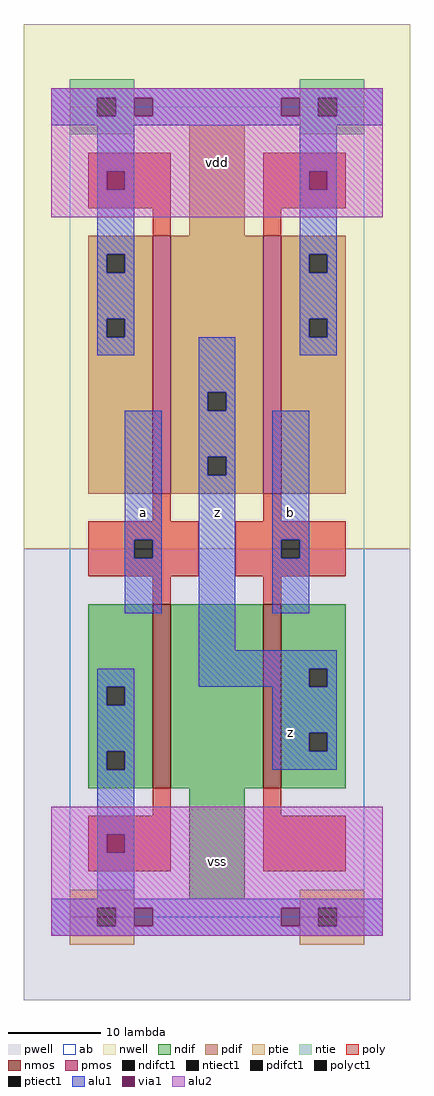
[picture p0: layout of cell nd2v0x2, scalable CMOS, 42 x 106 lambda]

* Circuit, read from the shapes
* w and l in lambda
.subckt nd2v0x2 a b vdd vss z
M1 n1 a vss vss nfet w=20 l=2
M2 z b n1 vss nfet w=20 l=2
M3 z a vdd vdd pfet w=28 l=2
M4 vdd b z vdd pfet w=28 l=2
.ends

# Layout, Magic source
magic
tech scmos
<< ab >>
rect 0 0 32 88
<< nwell >>
rect -5 40 37 97
<< pwell >>
rect -5 -9 37 40
<< poly >>
rect 2 77 11 83
rect 9 74 11 77
rect 21 77 30 83
rect 21 74 23 77
rect 9 43 11 46
rect 21 43 23 46
rect 2 41 14 43
rect 2 39 7 41
rect 9 39 14 41
rect 2 37 14 39
rect 18 41 30 43
rect 18 39 23 41
rect 25 39 30 41
rect 18 37 30 39
rect 9 34 11 37
rect 21 34 23 37
rect 9 11 11 14
rect 2 5 11 11
rect 21 11 23 14
rect 21 5 30 11
<< ndif >>
rect 2 25 9 34
rect 2 23 4 25
rect 6 23 9 25
rect 2 18 9 23
rect 2 16 4 18
rect 6 16 9 18
rect 2 14 9 16
rect 11 14 21 34
rect 23 27 30 34
rect 23 25 26 27
rect 28 25 30 27
rect 23 20 30 25
rect 23 18 26 20
rect 28 18 30 20
rect 23 14 30 18
rect 13 2 19 14
<< pdif >>
rect 13 74 19 86
rect 2 72 9 74
rect 2 70 4 72
rect 6 70 9 72
rect 2 65 9 70
rect 2 63 4 65
rect 6 63 9 65
rect 2 46 9 63
rect 11 57 21 74
rect 11 55 15 57
rect 17 55 21 57
rect 11 50 21 55
rect 11 48 15 50
rect 17 48 21 50
rect 11 46 21 48
rect 23 72 30 74
rect 23 70 26 72
rect 28 70 30 72
rect 23 65 30 70
rect 23 63 26 65
rect 28 63 30 65
rect 23 46 30 63
<< alu1 >>
rect -2 89 34 90
rect -2 87 3 89
rect 5 87 7 89
rect 9 87 23 89
rect 25 87 27 89
rect 29 87 34 89
rect -2 86 34 87
rect 3 81 7 86
rect 3 79 4 81
rect 6 79 7 81
rect 3 72 7 79
rect 3 70 4 72
rect 6 70 7 72
rect 3 65 7 70
rect 3 63 4 65
rect 6 63 7 65
rect 25 81 29 86
rect 25 79 26 81
rect 28 79 29 81
rect 25 72 29 79
rect 25 70 26 72
rect 28 70 29 72
rect 25 65 29 70
rect 25 63 26 65
rect 28 63 29 65
rect 3 61 7 63
rect 14 57 18 63
rect 25 61 29 63
rect 14 55 15 57
rect 17 55 18 57
rect 6 41 10 55
rect 6 39 7 41
rect 9 39 10 41
rect 6 33 10 39
rect 14 50 18 55
rect 14 48 15 50
rect 17 48 18 50
rect 14 29 18 48
rect 22 41 26 55
rect 22 39 23 41
rect 25 39 26 41
rect 22 33 26 39
rect 14 27 29 29
rect 3 25 7 27
rect 14 25 26 27
rect 28 25 29 27
rect 3 23 4 25
rect 6 23 7 25
rect 3 18 7 23
rect 3 16 4 18
rect 6 16 7 18
rect 22 20 29 25
rect 22 18 26 20
rect 28 18 29 20
rect 22 16 29 18
rect 3 9 7 16
rect 3 7 4 9
rect 6 7 7 9
rect 3 2 7 7
rect -2 1 34 2
rect -2 -1 3 1
rect 5 -1 7 1
rect 9 -1 23 1
rect 25 -1 27 1
rect 29 -1 34 1
rect -2 -2 34 -1
<< alu2 >>
rect -2 89 34 90
rect -2 87 7 89
rect 9 87 23 89
rect 25 87 34 89
rect -2 81 34 87
rect -2 79 4 81
rect 6 79 26 81
rect 28 79 34 81
rect -2 76 34 79
rect -2 9 34 12
rect -2 7 4 9
rect 6 7 34 9
rect -2 1 34 7
rect -2 -1 7 1
rect 9 -1 23 1
rect 25 -1 34 1
rect -2 -2 34 -1
<< ptie >>
rect 0 1 7 3
rect 0 -1 3 1
rect 5 -1 7 1
rect 0 -3 7 -1
rect 25 1 32 3
rect 25 -1 27 1
rect 29 -1 32 1
rect 25 -3 32 -1
<< ntie >>
rect 0 89 7 91
rect 0 87 3 89
rect 5 87 7 89
rect 0 85 7 87
rect 25 89 32 91
rect 25 87 27 89
rect 29 87 32 89
rect 25 85 32 87
<< nmos >>
rect 9 14 11 34
rect 21 14 23 34
<< pmos >>
rect 9 46 11 74
rect 21 46 23 74
<< polyct1 >>
rect 7 39 9 41
rect 23 39 25 41
<< ndifct1 >>
rect 4 23 6 25
rect 4 16 6 18
rect 26 25 28 27
rect 26 18 28 20
<< ntiect1 >>
rect 3 87 5 89
rect 27 87 29 89
<< ptiect1 >>
rect 3 -1 5 1
rect 27 -1 29 1
<< pdifct1 >>
rect 4 70 6 72
rect 4 63 6 65
rect 15 55 17 57
rect 15 48 17 50
rect 26 70 28 72
rect 26 63 28 65
<< via1 >>
rect 7 87 9 89
rect 23 87 25 89
rect 4 79 6 81
rect 26 79 28 81
rect 4 7 6 9
rect 7 -1 9 1
rect 23 -1 25 1
<< labels >>
rlabel alu1 8 44 8 44 6 a
rlabel alu1 16 44 16 44 6 z
rlabel alu1 24 20 24 20 6 z
rlabel alu1 24 44 24 44 6 b
rlabel alu2 16 6 16 6 6 vss
rlabel alu2 16 82 16 82 6 vdd
<< end >>
